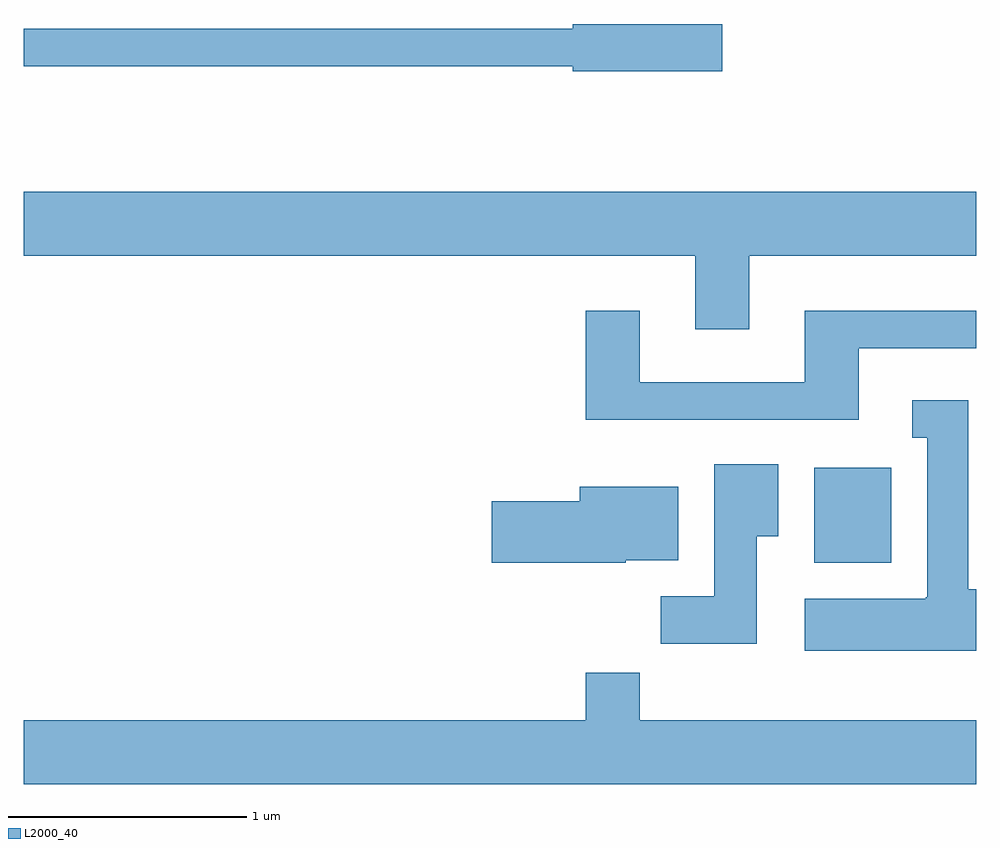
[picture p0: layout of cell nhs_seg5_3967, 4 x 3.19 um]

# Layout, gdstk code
import gdstk
lib = gdstk.Library(unit=1e-6, precision=1e-09)
def R(c, l, rs):  # rectangles x0, y0, x1, y1
    for r in rs: c.add(gdstk.rectangle(r[:2], r[2:], *l))
def P(c, l, *ps):  # polygons
    for p in ps: c.add(gdstk.Polygon(p, *l))
L2000_40 = (2000, 40)

nhs_seg5_3967 = lib.new_cell('nhs_seg5_3967')
R(nhs_seg5_3967, L2000_40, [(306.931,1397.786,307.254,1398.184)])
P(nhs_seg5_3967, L2000_40, [(306.544,1400.049),(305.916,1400.049),(305.916,1400.029),(303.611,1400.029),(303.611,1399.871),(305.916,1399.871),(305.916,1399.851),(306.544,1399.851)],
  [(306.659,1399.076),(307.611,1399.076),(307.611,1399.344),(303.611,1399.344),(303.611,1399.076),(306.431,1399.076),(306.431,1398.766),(306.659,1398.766)],
  [(307.119,1398.686),(307.611,1398.686),(307.611,1398.844),(306.891,1398.844),(306.891,1398.544),(306.199,1398.544),(306.199,1398.844),(305.971,1398.844),(305.971,1398.386),(307.119,1398.386)],
  [(307.611,1397.674),(307.579,1397.674),(307.579,1398.469),(307.343,1398.469),(307.343,1398.311),(307.406,1398.311),(307.406,1397.64),(307.4,1397.64),(307.4,1397.634),(306.891,1397.634),(306.891,1397.416),(307.611,1397.416)],
  [(306.689,1397.896),(306.779,1397.896),(306.779,1398.199),(306.511,1398.199),(306.511,1397.644),(306.286,1397.644),(306.286,1397.446),(306.689,1397.446)],
  [(306.14,1397.796),(306.359,1397.796),(306.359,1398.104),(305.946,1398.104),(305.946,1398.044),(305.576,1398.044),(305.576,1397.786),(306.14,1397.786)],
  [(307.611,1397.124),(306.199,1397.124),(306.199,1397.324),(305.971,1397.324),(305.971,1397.124),(303.611,1397.124),(303.611,1396.856),(307.611,1396.856)])

lib.write_gds('nhs_seg5_3967.gds')
